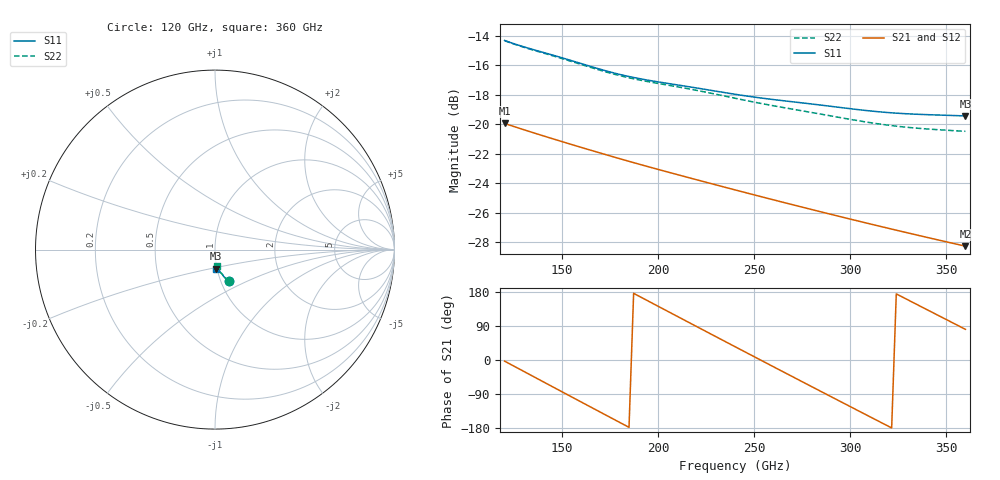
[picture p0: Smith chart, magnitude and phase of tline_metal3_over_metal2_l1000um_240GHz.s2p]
#  GHZ S DB R 50
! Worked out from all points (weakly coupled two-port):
!   101 points, 120 GHz to 360 GHz, reference 50 ohm
!   highest |S21| = -19.95 dB at 120 GHz (marker M1); lowest = -28.3 dB at 360 GHz (marker M2)
!   lowest |S11| = -19.4 dB at 360 GHz (marker M3), VSWR 1.24, Z = 49.4 - j10.6 ohm
!   |S11| at or under -10 dB: start of sweep to end of sweep
!   |S22| runs from -20.5 to -14.3 dB; largest |S21 - S12| = 1.3e-13
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120  -14.32 -66.8  -19.95 -3.0  -19.95 -3.0  -14.34 -66.8
129.6  -14.74 -67.7  -20.36 -29.0  -20.36 -29.0  -14.77 -67.6
141.6  -15.19 -69.1  -20.86 -61.5  -20.86 -61.5  -15.23 -69.1
151.2  -15.55 -70.4  -21.24 -87.4  -21.24 -87.4  -15.60 -70.4
160.8  -15.93 -71.6  -21.61 -113.3  -21.61 -113.3  -15.99 -71.6
170.4  -16.30 -72.5  -21.98 -139.1  -21.98 -139.1  -16.37 -72.6
180  -16.63 -73.1  -22.35 -164.8  -22.35 -164.8  -16.71 -73.2
189.6  -16.90 -73.6  -22.70 169.5  -22.70 169.5  -16.99 -73.8
201.6  -17.17 -74.5  -23.13 137.4  -23.13 137.4  -17.28 -74.8
211.2  -17.36 -75.3  -23.47 111.8  -23.47 111.8  -17.49 -75.8
220.8  -17.56 -76.3  -23.80 86.2  -23.80 86.2  -17.73 -77.0
230.4  -17.77 -77.2  -24.13 60.7  -24.13 60.7  -17.98 -78.1
240  -17.97 -78.0  -24.46 35.2  -24.46 35.2  -18.24 -79.1
249.6  -18.16 -78.8  -24.79 9.8  -24.79 9.8  -18.50 -79.9
259.2  -18.32 -79.5  -25.11 -15.6  -25.11 -15.6  -18.73 -80.6
271.2  -18.50 -80.5  -25.51 -47.3  -25.51 -47.3  -19.01 -81.5
280.8  -18.65 -81.4  -25.82 -72.5  -25.82 -72.5  -19.23 -82.2
297.6  -18.91 -82.8  -26.37 -116.6  -26.37 -116.6  -19.62 -83.2
309.6  -19.09 -83.6  -26.75 -148.0  -26.75 -148.0  -19.88 -83.6
321.6  -19.23 -84.2  -27.12 -179.3  -27.12 -179.3  -20.10 -83.7
343.2  -19.37 -85.6  -27.78 124.5  -27.78 124.5  -20.36 -84.0
360  -19.44 -87.2  -28.28 81.0  -28.28 81.0  -20.49 -84.6
